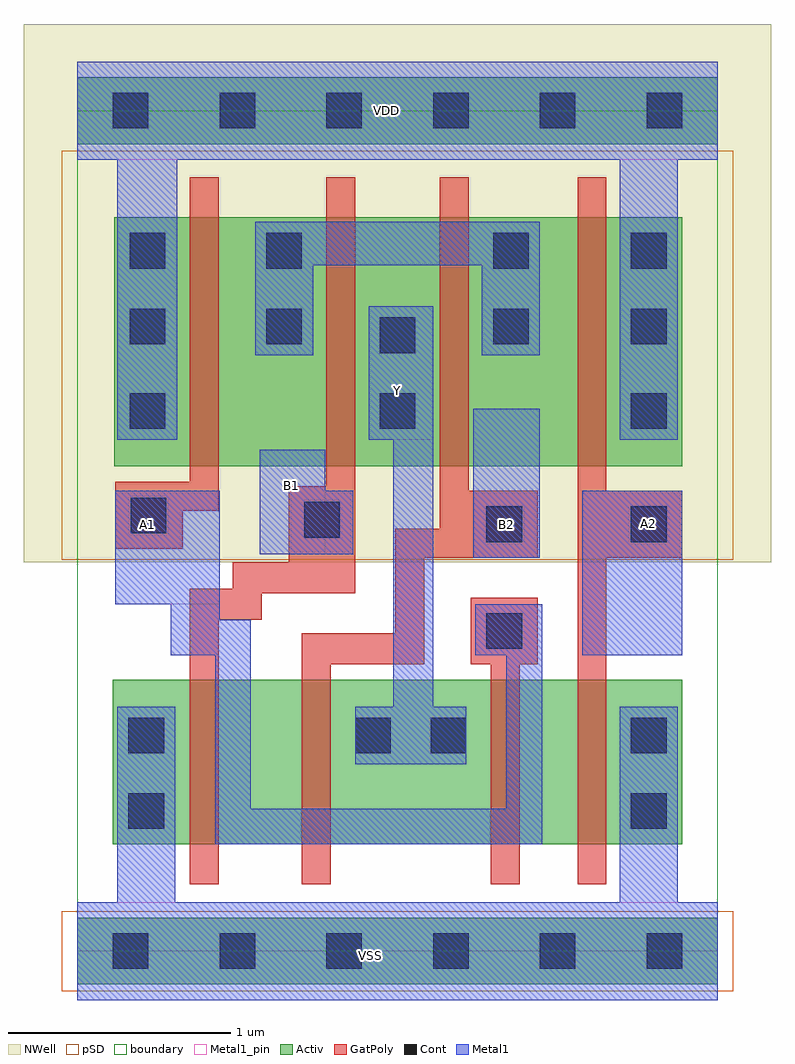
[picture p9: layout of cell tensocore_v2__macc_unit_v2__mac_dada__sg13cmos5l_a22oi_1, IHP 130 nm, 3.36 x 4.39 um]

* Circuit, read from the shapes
.subckt tensocore_v2__macc_unit_v2__mac_dada__sg13cmos5l_a22oi_1 A1 A2 B1 B2 VDD VSS Y
XM1 n1 B1 VSS VSS sg13_lv_nmos w=0.74u l=0.13u
XM2 Y B2 n1 VSS sg13_lv_nmos w=0.74u l=0.13u
XM3 n2 A1 Y VSS sg13_lv_nmos w=0.74u l=0.13u
XM4 VSS A2 n2 VSS sg13_lv_nmos w=0.74u l=0.13u
XM5 n3 A1 VDD VDD sg13_lv_pmos w=1.12u l=0.13u
XM6 Y B1 n3 VDD sg13_lv_pmos w=1.12u l=0.13u
XM7 n3 B2 Y VDD sg13_lv_pmos w=1.12u l=0.13u
XM8 VDD A2 n3 VDD sg13_lv_pmos w=1.12u l=0.13u
.ends

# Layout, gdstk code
import gdstk
lib = gdstk.Library(unit=1e-6, precision=1e-09)
def R(c, l, rs):  # rectangles x0, y0, x1, y1
    for r in rs: c.add(gdstk.rectangle(r[:2], r[2:], *l))
def A(c, l, x, y, w, h, nx, ny, dx, dy):  # array of equal rectangles
    R(c, l, [(x+i*dx, y+j*dy, x+i*dx+w, y+j*dy+h) for i in range(nx) for j in range(ny)])
def P(c, l, *ps):  # polygons
    for p in ps: c.add(gdstk.Polygon(p, *l))
Activ = (1, 0)
GatPoly = (5, 0)
Cont = (6, 0)
Metal1 = (8, 0)
Metal1_pin = (8, 2)
pSD = (14, 0)
NWell = (31, 0)
boundary = (189, 4)

tensocore_v2__macc_unit_ = lib.new_cell('tensocore_v2__macc_unit_v2__mac_dada__sg13cmos5l_a22oi_1')
R(tensocore_v2__macc_unit_, Activ, [(0,-0.15,2.88,0.15), (0.16,0.48,2.72,1.22), (0.165,2.18,2.72,3.3), (0,3.63,2.88,3.93)])
P(tensocore_v2__macc_unit_, GatPoly, [(1.01,0.3),(1.01,1.43),(1.43,1.43),(1.43,1.9),(1.63,1.9),(1.63,3.48),(1.76,3.48),(1.76,2.07),(2.07,2.07),(2.07,1.77),(1.56,1.77),(1.56,1.29),(1.14,1.29),(1.14,0.3)],
  [(0.17,1.81),(0.17,2.11),(0.505,2.11),(0.505,3.48),(0.635,3.48),(0.635,1.98),(0.475,1.98),(0.475,1.81)],
  [(1.86,0.3),(1.86,1.29),(1.77,1.29),(1.77,1.59),(2.07,1.59),(2.07,1.29),(1.99,1.29),(1.99,0.3)],
  [(2.25,0.3),(2.25,3.48),(2.38,3.48),(2.38,2.07),(2.72,2.07),(2.72,1.77),(2.38,1.77),(2.38,0.3)],
  [(0.505,0.3),(0.505,1.63),(0.7,1.63),(0.7,1.75),(0.95,1.75),(0.95,2.09),(1.12,2.09),(1.12,3.48),(1.25,3.48),(1.25,1.61),(0.83,1.61),(0.83,1.49),(0.635,1.49),(0.635,0.3)])
A(tensocore_v2__macc_unit_, Cont, 0.16, -0.08, 0.16, 0.16, 6, 2, 0.48, 3.78)
R(tensocore_v2__macc_unit_, Cont, [(0.23,0.55,0.39,0.71), (2.49,0.55,2.65,0.71), (0.23,0.89,0.39,1.05), (1.25,0.89,1.41,1.05), (1.59,0.89,1.75,1.05), (2.49,0.89,2.65,1.05), (1.84,1.36,2,1.52), (1.84,1.84,2,2), (2.49,1.84,2.65,2), (1.02,1.86,1.18,2.02), (0.24,1.88,0.4,2.04), (0.235,2.35,0.395,2.51), (1.36,2.35,1.52,2.51), (2.49,2.35,2.65,2.51), (1.36,2.69,1.52,2.85), (0.235,2.73,0.395,2.89), (0.85,2.73,1.01,2.89), (1.87,2.73,2.03,2.89), (2.49,2.73,2.65,2.89), (0.235,3.07,0.395,3.23), (0.85,3.07,1.01,3.23), (1.87,3.07,2.03,3.23), (2.49,3.07,2.65,3.23)])
R(tensocore_v2__macc_unit_, Metal1, [(2.27,1.33,2.72,2.07), (1.78,1.77,2.08,2.44)])
P(tensocore_v2__macc_unit_, Metal1, [(0.18,2.3),(0.18,3.56),(0,3.56),(0,4),(2.88,4),(2.88,3.56),(2.7,3.56),(2.7,2.3),(2.44,2.3),(2.44,3.56),(0.45,3.56),(0.45,2.3)],
  [(0.62,0.48),(0.62,1.33),(0.42,1.33),(0.42,1.56),(0.17,1.56),(0.17,2.07),(0.64,2.07),(0.64,1.49),(0.78,1.49),(0.78,0.64),(1.93,0.64),(1.93,1.33),(1.79,1.33),(1.79,1.56),(2.09,1.56),(2.09,0.48)],
  [(0,-0.22),(0,0.22),(0.18,0.22),(0.18,1.1),(0.44,1.1),(0.44,0.22),(2.44,0.22),(2.44,1.1),(2.7,1.1),(2.7,0.22),(2.88,0.22),(2.88,-0.22)],
  [(0.8,2.68),(0.8,3.28),(2.08,3.28),(2.08,2.68),(1.82,2.68),(1.82,3.085),(1.06,3.085),(1.06,2.68)],
  [(0.82,1.785),(0.82,2.255),(1.115,2.255),(1.115,2.07),(1.24,2.07),(1.24,1.785)],
  [(1.25,0.84),(1.25,1.1),(1.42,1.1),(1.42,2.3),(1.31,2.3),(1.31,2.9),(1.6,2.9),(1.6,1.1),(1.75,1.1),(1.75,0.84)])
R(tensocore_v2__macc_unit_, Metal1_pin, [(0,-0.22,2.88,0.22), (2.27,1.33,2.72,2.07), (0.17,1.56,0.64,2.07), (1.78,1.77,2.08,2.44), (0.82,1.785,1.115,2.255), (1.31,2.3,1.6,2.9), (0,3.56,2.88,4)])
R(tensocore_v2__macc_unit_, pSD, [(-0.07,-0.18,2.95,0.18), (-0.07,1.76,2.95,3.6)])
R(tensocore_v2__macc_unit_, NWell, [(-0.24,1.75,3.12,4.17)])
R(tensocore_v2__macc_unit_, boundary, [(0,0,2.88,3.78)])
tensocore_v2__macc_unit_.add(gdstk.Label('B2', (1.93,1.92), layer=8, texttype=25))
tensocore_v2__macc_unit_.add(gdstk.Label('VSS', (1.32,-0.02), layer=8, texttype=25))
tensocore_v2__macc_unit_.add(gdstk.Label('A1', (0.315,1.92), layer=8, texttype=25))
tensocore_v2__macc_unit_.add(gdstk.Label('B1', (0.965,2.095), layer=8, texttype=25))
tensocore_v2__macc_unit_.add(gdstk.Label('VDD', (1.39,3.78), layer=8, texttype=25))
tensocore_v2__macc_unit_.add(gdstk.Label('A2', (2.57,1.925), layer=8, texttype=25))
tensocore_v2__macc_unit_.add(gdstk.Label('Y', (1.44,2.52), layer=8, texttype=25))

lib.write_gds('tensocore_v2__macc_unit_v2__mac_dada__sg13cmos5l_a22oi_1.gds')
